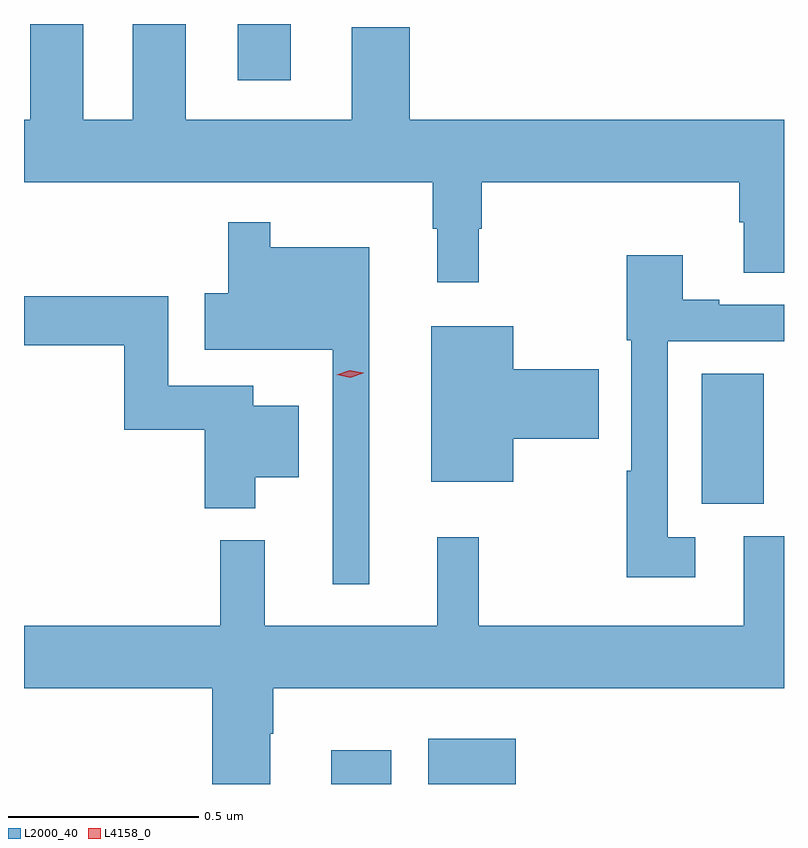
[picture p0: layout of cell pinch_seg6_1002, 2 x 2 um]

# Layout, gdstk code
import gdstk
lib = gdstk.Library(unit=1e-6, precision=1e-09)
def R(c, l, rs):  # rectangles x0, y0, x1, y1
    for r in rs: c.add(gdstk.rectangle(r[:2], r[2:], *l))
def P(c, l, *ps):  # polygons
    for p in ps: c.add(gdstk.Polygon(p, *l))
L2000_40 = (2000, 40)
L4158_0 = (4158, 0)

pinch_seg6_1002 = lib.new_cell('pinch_seg6_1002')
R(pinch_seg6_1002, L2000_40, [(291.995,944.42,292.153,944.509), (292.251,944.42,292.481,944.539), (292.97,945.157,293.134,945.5), (291.749,946.272,291.889,946.42)])
P(pinch_seg6_1002, L2000_40, [(292.384,945.881),(292.391,945.881),(292.391,946.004),(293.069,946.004),(293.069,945.898),(293.081,945.898),(293.081,945.766),(293.187,945.766),(293.187,946.168),(292.202,946.168),(292.202,946.411),(292.049,946.411),(292.049,946.168),(291.613,946.168),(291.613,946.42),(291.473,946.42),(291.473,946.168),(291.343,946.168),(291.343,946.42),(291.203,946.42),(291.203,946.168),(291.187,946.168),(291.187,946.004),(292.263,946.004),(292.263,945.881),(292.274,945.881),(292.274,945.741),(292.384,945.741)],
  [(292.096,945.832),(291.835,945.832),(291.835,945.898),(291.725,945.898),(291.725,945.711),(291.662,945.711),(291.662,945.563),(291.999,945.563),(291.999,944.946),(292.096,944.946)],
  [(292.954,945.069),(292.881,945.069),(292.881,945.585),(293.187,945.585),(293.187,945.681),(293.017,945.681),(293.017,945.694),(292.921,945.694),(292.921,945.811),(292.773,945.811),(292.773,945.588),(292.785,945.588),(292.785,945.245),(292.773,945.245),(292.773,944.964),(292.954,944.964)],
  [(291.796,945.227),(291.91,945.227),(291.91,945.415),(291.79,945.415),(291.79,945.468),(291.567,945.468),(291.567,945.703),(291.187,945.703),(291.187,945.574),(291.451,945.574),(291.451,945.352),(291.662,945.352),(291.662,945.146),(291.796,945.146)],
  [(292.474,945.329),(292.699,945.329),(292.699,945.512),(292.474,945.512),(292.474,945.625),(292.259,945.625),(292.259,945.215),(292.474,945.215)],
  [(291.835,944.552),(291.843,944.552),(291.843,944.672),(293.187,944.672),(293.187,945.072),(293.081,945.072),(293.081,944.836),(292.384,944.836),(292.384,945.07),(292.274,945.07),(292.274,944.836),(291.821,944.836),(291.821,945.061),(291.703,945.061),(291.703,944.836),(291.187,944.836),(291.187,944.672),(291.683,944.672),(291.683,944.42),(291.835,944.42)])
P(pinch_seg6_1002, L4158_0, [(292.046,945.489),(292.01,945.497),(292.009,945.497),(292.01,945.497),(292.044,945.509),(292.08,945.502),(292.081,945.502),(292.08,945.501)])

lib.write_gds('pinch_seg6_1002.gds')
